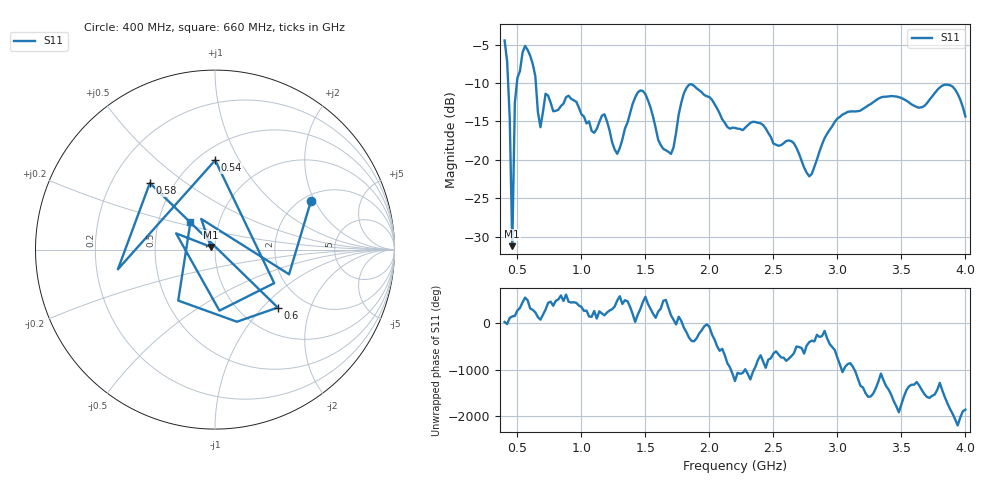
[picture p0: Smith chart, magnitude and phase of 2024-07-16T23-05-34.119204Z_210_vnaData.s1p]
!Created with skrf (http://scikit-rf.org).
# Hz S RI R 50.0
!freq ReS11 ImS11
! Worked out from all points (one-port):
!   181 points, 400 MHz to 4 GHz, reference 50 ohm
!   lowest |S11| = -31.2 dB at 460 MHz (marker M1), VSWR 1.06, Z = 47.7 + j1.44 ohm
!   |S11| at or under -10 dB: 427.6 MHz to 496 MHz (68.39 MHz wide, 14.8 % of centre); 643.8 MHz to end of sweep
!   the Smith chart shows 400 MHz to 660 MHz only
!   S11 on the Smith chart (normalised r, x): 400 MHz: 2.21, +1.86; 540 MHz: 0.60, +0.80; 580 MHz: 0.37, +0.37; 600 MHz: 1.47, -1.22; 660 MHz: 0.73, +0.23
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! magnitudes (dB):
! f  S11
! 400 MHz  -4.5
! 420 MHz  -7.2
! 440 MHz  -14.6
! 460 MHz  -31.2
! 480 MHz  -12.6
! 540 MHz  -6.1
! 580 MHz  -5.7
! 600 MHz  -6.5
! 640 MHz  -9.1
! 660 MHz  -13.8
! 680 MHz  -15.8
! 720 MHz  -11.4
! 860 MHz  -12.7
! 1.1 GHz  -16.5
! 1.18 GHz  -14.1
! 1.3 GHz  -18.5
! 1.46 GHz  -11.0
! 1.7 GHz  -19.2
! 1.76 GHz  -14.1
! 1.86 GHz  -10.2
! 2.2 GHz  -15.8
! 2.66 GHz  -17.8
! 2.78 GHz  -22.1
! 2.92 GHz  -16.6
! 3.1 GHz  -13.7
! 3.56 GHz  -12.5
! 3.88 GHz  -10.3
! 4 GHz  -14.4
